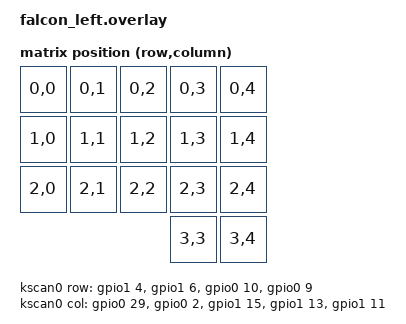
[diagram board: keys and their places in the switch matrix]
/*
 * Falcon - Left Half Overlay
 *
 * Matrix:
 *   Rows:    D8=row0, D9=row1, D16=row2, D10=row3(thumb)
 *   Columns: D20=col0, D19=col1, D18=col2, D15=col3, D14=col4
 *
 * nice!nano v2 pin -> nRF port mapping:
 *   D8  = P1.04   D9  = P1.06   D16 = P0.10   D10 = P0.09
 *   D20 = P0.29   D19 = P0.02   D18 = P1.15   D15 = P1.13   D14 = P1.11
 */

#include <dt-bindings/zmk/matrix_transform.h>

/ {
    chosen {
        zmk,kscan = &kscan0;
        zmk,matrix-transform = &default_transform;
    };

    default_transform: keymap_transform_0 {
        compatible = "zmk,matrix-transform";
        columns = <5>;
        rows = <4>;
        /*
         * Layout per half (L = left half key):
         *
         * Row 0: L00 L01 L02 L03 L04
         * Row 1: L10 L11 L12 L13 L14
         * Row 2: L20 L21 L22 L23 L24
         * Row 3 (thumb):          L33 L34   <- inner 2 cols only
         *
         * RC(row, col) maps a matrix position to a key
         */
        map = <
            RC(0,0) RC(0,1) RC(0,2) RC(0,3) RC(0,4)
            RC(1,0) RC(1,1) RC(1,2) RC(1,3) RC(1,4)
            RC(2,0) RC(2,1) RC(2,2) RC(2,3) RC(2,4)
                                    RC(3,3) RC(3,4)
        >;
    };

    kscan0: kscan {
        compatible = "zmk,kscan-gpio-matrix";
        wakeup-source;
        diode-direction = "row2col";

        row-gpios
            = <&gpio1 4  (GPIO_ACTIVE_HIGH | GPIO_PULL_DOWN)>  /* D8  = P1.04 */
            , <&gpio1 6  (GPIO_ACTIVE_HIGH | GPIO_PULL_DOWN)>  /* D9  = P1.06 */
            , <&gpio0 10 (GPIO_ACTIVE_HIGH | GPIO_PULL_DOWN)>  /* D16 = P0.10 */
            , <&gpio0 9  (GPIO_ACTIVE_HIGH | GPIO_PULL_DOWN)>  /* D10 = P0.09 */
            ;

        col-gpios
            = <&gpio0 29 GPIO_ACTIVE_HIGH>  /* D20 = P0.29 - col 0 (outer) */
            , <&gpio0 2  GPIO_ACTIVE_HIGH>  /* D19 = P0.02 - col 1         */
            , <&gpio1 15 GPIO_ACTIVE_HIGH>  /* D18 = P1.15 - col 2         */
            , <&gpio1 13 GPIO_ACTIVE_HIGH>  /* D15 = P1.13 - col 3 (inner) */
            , <&gpio1 11 GPIO_ACTIVE_HIGH>  /* D14 = P1.11 - col 4 (inner) */
            ;
    };
};
